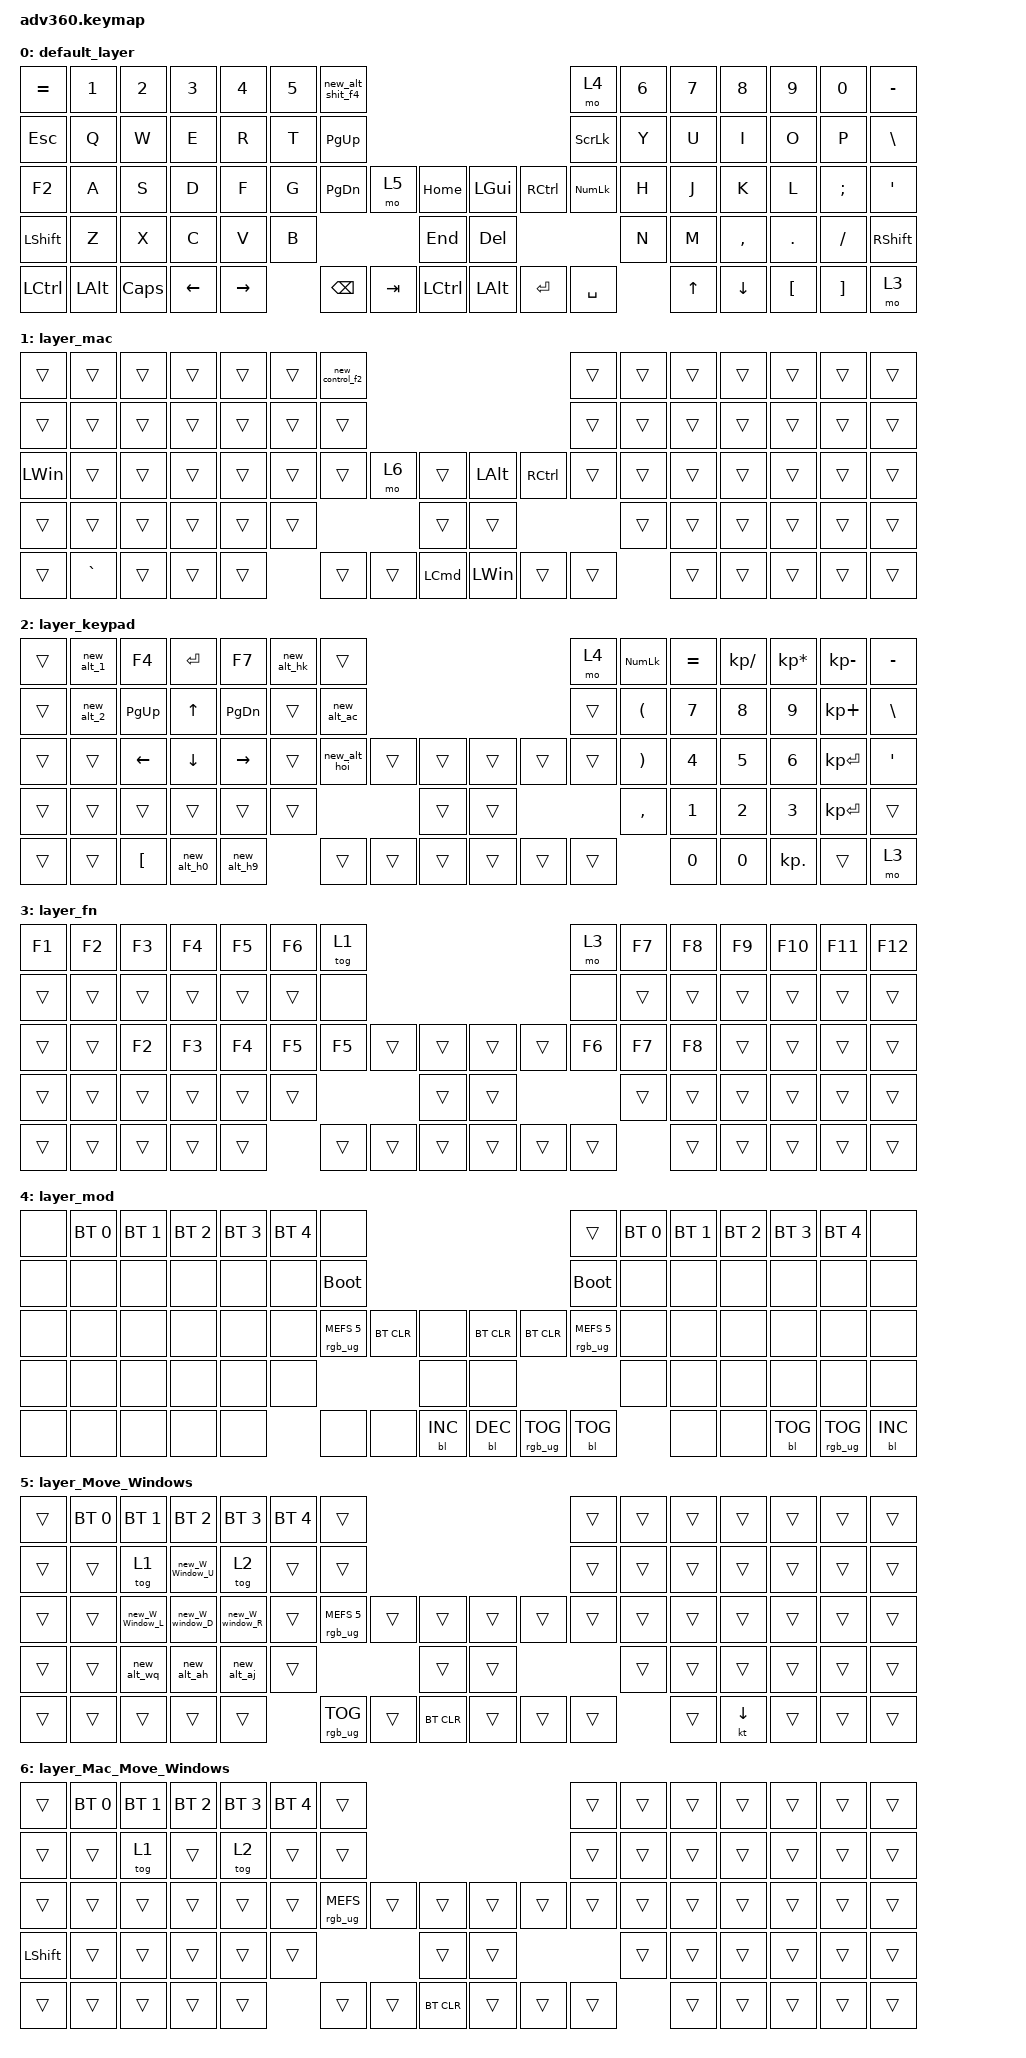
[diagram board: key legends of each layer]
/*
 * Copyright (c) 2020 The ZMK Contributors
 *
 * SPDX-License-Identifier: MIT
 */
/* THIS FILE WAS GENERATED!
 *
 * This file was generated automatically. You may or may not want to
 * edit it directly.
 */

#include <behaviors.dtsi>
#include <dt-bindings/zmk/backlight.h>
#include <dt-bindings/zmk/bt.h>
#include <dt-bindings/zmk/keys.h>
#include <dt-bindings/zmk/keys.h>
#include <dt-bindings/zmk/rgb.h>

/ {
    behaviors {
        #include "macros.dtsi"
    #include "version.dtsi"

        hm: homerow_mods {
            compatible = "zmk,behavior-hold-tap";
            label = "HOMEROW_MODS";
            #binding-cells = <2>;
            tapping-term-ms = <200>;
            quick_tap_ms = <175>;
            flavor = "tap-preferred";
            bindings = <&kp>, <&kp>;
        };
    };

    macros {
        new_alt_shit_f4: new_alt_shit_f4 {
            compatible = "zmk,behavior-macro";
            #binding-cells = <0>;
            bindings = <&kp LA(LC(F4))>;
            label = "NEW_ALT_SHIT_F4";
        };

        new_alt_ac: new_alt_ac {
            compatible = "zmk,behavior-macro";
            #binding-cells = <0>;
            bindings = <&kp LEFT_ALT &kp A &kp C>;
            label = "NEW_ALT_AC";
        };

        new_alt_hoi: new_alt_hoi {
            compatible = "zmk,behavior-macro";
            #binding-cells = <0>;
            bindings = <&kp LEFT_ALT &kp H &kp O &kp I>;
            label = "NEW_ALT_HOI";
        };

        new_alt_h9: new_alt_h9 {
            compatible = "zmk,behavior-macro";
            #binding-cells = <0>;
            bindings = <&kp LEFT_ALT &kp H &kp N9>;
            label = "NEW_ALT_H9";
        };

        new_alt_h0: new_alt_h0 {
            compatible = "zmk,behavior-macro";
            #binding-cells = <0>;
            bindings = <&kp LEFT_ALT &kp H &kp N0>;
            label = "NEW_ALT_H0";
        };

        new_alt_hk: new_alt_hk {
            compatible = "zmk,behavior-macro";
            #binding-cells = <0>;
            bindings = <&kp LEFT_ALT &kp H &kp K>;
            label = "NEW_ALT_HK";
        };

        new_alt_1: new_alt_1 {
            compatible = "zmk,behavior-macro";
            #binding-cells = <0>;
            bindings = <&kp LEFT_ALT &kp NUMBER_1>;
            label = "NEW_ALT_1";
        };

        new_alt_2: new_alt_2 {
            compatible = "zmk,behavior-macro";
            #binding-cells = <0>;
            bindings = <&kp LEFT_ALT &kp NUMBER_2>;
            label = "NEW_ALT_2";
        };

        new_alt_aj: new_alt_aj {
            compatible = "zmk,behavior-macro";
            #binding-cells = <0>;
            bindings = <&kp LEFT_ALT &kp A &kp J>;
            label = "NEW_ALT_AJ";
        };

        new_alt_ah: new_alt_ah {
            compatible = "zmk,behavior-macro";
            #binding-cells = <0>;
            bindings = <&kp LEFT_ALT &kp A &kp H>;
            label = "NEW_ALT_AH";
        };

        new_alt_wq: new_alt_wq {
            compatible = "zmk,behavior-macro";
            #binding-cells = <0>;
            bindings = <&kp LEFT_ALT &kp Q &kp W>;
            label = "NEW_ALT_WQ";
        };

        new_W_Window_L: new_W_Window_L {
            compatible = "zmk,behavior-macro";
            #binding-cells = <0>;
            bindings = <&kp LG(LEFT)>;
            label = "NEW_W_WINDOW_L";
        };

        new_W_window_R: new_W_window_R {
            compatible = "zmk,behavior-macro";
            #binding-cells = <0>;
            bindings = <&kp LG(RIGHT)>;
            label = "NEW_W_WINDOW_R";
        };

        new_W_window_D: new_W_window_D {
            compatible = "zmk,behavior-macro";
            #binding-cells = <0>;
            bindings = <&kp LG(DOWN)>;
            label = "NEW_W_WINDOW_D";
        };

        new_W_Window_U: new_W_Window_U {
            compatible = "zmk,behavior-macro";
            #binding-cells = <0>;
            bindings = <&kp LG(UP_ARROW)>;
            label = "NEW_W_WINDOW_U";
        };

        new_control_f2: new_control_f2 {
            compatible = "zmk,behavior-macro";
            #binding-cells = <0>;
            bindings = <&kp LC(F2)>;
            label = "NEW_CONTROL_F2";
        };
    };

    keymap {
        compatible = "zmk,keymap";

        default_layer {
            bindings = <
&kp EQUAL  &kp N1        &kp N2    &kp N3    &kp N4     &kp N5  &new_alt_shit_f4                                                   &mo 4           &kp N6  &kp N7  &kp N8     &kp N9    &kp N0    &kp MINUS
&kp ESC    &kp Q         &kp W     &kp E     &kp R      &kp T   &kp PG_UP                                                          &kp SCROLLLOCK  &kp Y   &kp U   &kp I      &kp O     &kp P     &kp BSLH
&kp F2     &kp A         &kp S     &kp D     &kp F      &kp G   &kp PG_DN         &mo 5    &kp HOME       &kp LGUI      &kp RCTRL  &kp KP_NUMLOCK  &kp H   &kp J   &kp K      &kp L     &kp SEMI  &kp SQT
&kp LSHFT  &kp Z         &kp X     &kp C     &kp V      &kp B                              &kp END        &kp DEL                                  &kp N   &kp M   &kp COMMA  &kp DOT   &kp FSLH  &kp RIGHT_SHIFT
&kp LCTRL  &kp LEFT_ALT  &kp CAPS  &kp LEFT  &kp RIGHT          &kp BSPC          &kp TAB  &kp LCTRL      &kp LEFT_ALT  &kp ENTER  &kp SPACE               &kp UP  &kp DOWN   &kp LBKT  &kp RBKT  &mo 3
            >;
        };

        layer_mac {
            bindings = <
&trans        &trans     &trans  &trans  &trans  &trans  &new_control_f2                                                         &trans  &trans  &trans  &trans  &trans  &trans  &trans
&trans        &trans     &trans  &trans  &trans  &trans  &trans                                                                  &trans  &trans  &trans  &trans  &trans  &trans  &trans
&kp LEFT_WIN  &trans     &trans  &trans  &trans  &trans  &trans           &mo 6   &trans                &kp LEFT_ALT  &kp RCTRL  &trans  &trans  &trans  &trans  &trans  &trans  &trans
&trans        &trans     &trans  &trans  &trans  &trans                           &trans                &trans                           &trans  &trans  &trans  &trans  &trans  &trans
&trans        &kp GRAVE  &trans  &trans  &trans          &trans           &trans  &kp LEFT_COMMAND      &kp LEFT_WIN  &trans     &trans          &trans  &trans  &trans  &trans  &trans
            >;
        };

        layer_keypad {
            bindings = <
&trans  &new_alt_1  &kp F4            &kp ENTER       &kp F7           &new_alt_hk  &trans                                            &mo 4   &kp KP_NUMLOCK         &kp EQUAL     &kp KP_SLASH  &kp KP_MULTIPLY  &kp KP_SUBTRACT  &kp MINUS
&trans  &new_alt_2  &kp PAGE_UP       &kp UP_ARROW    &kp PAGE_DOWN    &trans       &new_alt_ac                                       &trans  &kp LEFT_PARENTHESIS   &kp N7        &kp N8        &kp N9           &kp KP_PLUS      &kp BSLH
&trans  &trans      &kp LEFT_ARROW    &kp DOWN_ARROW  &kp RIGHT_ARROW  &trans       &new_alt_hoi  &trans  &trans      &trans  &trans  &trans  &kp RIGHT_PARENTHESIS  &kp NUMBER_4  &kp N5        &kp NUMBER_6     &kp KP_ENTER     &kp SQT
&trans  &trans      &trans            &trans          &trans           &trans                             &trans      &trans                  &kp COMMA              &kp N1        &kp N2        &kp N3           &kp KP_ENTER     &trans
&trans  &trans      &kp LEFT_BRACKET  &new_alt_h0     &new_alt_h9                   &trans        &trans  &trans      &trans  &trans  &trans                         &kp NUMBER_0  &kp NUMBER_0  &kp KP_DOT       &trans           &mo 3
            >;
        };

        layer_fn {
            bindings = <
&kp F1  &kp F2  &kp F3  &kp F4  &kp F5  &kp F6  &tog 1                                      &mo 3   &kp F7  &kp F8  &kp F9  &kp F10  &kp F11  &kp F12
&trans  &trans  &trans  &trans  &trans  &trans  &none                                       &none   &trans  &trans  &trans  &trans   &trans   &trans
&trans  &trans  &kp F2  &kp F3  &kp F4  &kp F5  &kp F5  &trans  &trans      &trans  &trans  &kp F6  &kp F7  &kp F8  &trans  &trans   &trans   &trans
&trans  &trans  &trans  &trans  &trans  &trans                  &trans      &trans                  &trans  &trans  &trans  &trans   &trans   &trans
&trans  &trans  &trans  &trans  &trans          &trans  &trans  &trans      &trans  &trans  &trans          &trans  &trans  &trans   &trans   &trans
            >;
        };

        layer_mod {
            bindings = <
&none  &bt BT_SEL 0  &bt BT_SEL 1  &bt BT_SEL 2  &bt BT_SEL 3  &bt BT_SEL 4  &none                                                                            &trans                  &bt BT_SEL 0  &bt BT_SEL 1  &bt BT_SEL 2  &bt BT_SEL 3  &bt BT_SEL 4     &none
&none  &none         &none         &none         &none         &none         &bootloader                                                                      &bootloader             &none         &none         &none         &none         &none            &none
&none  &none         &none         &none         &none         &none         &rgb_ug RGB_MEFS_CMD 5  &bt BT_CLR  &none           &bt BT_CLR  &bt BT_CLR       &rgb_ug RGB_MEFS_CMD 5  &none         &none         &none         &none         &none            &none
&none  &none         &none         &none         &none         &none                                             &none           &none                                                &none         &none         &none         &none         &none            &none
&none  &none         &none         &none         &none                       &none                   &none       &bl BL_INC      &bl BL_DEC  &rgb_ug RGB_TOG  &bl BL_TOG                            &none         &none         &bl BL_TOG    &rgb_ug RGB_TOG  &bl BL_INC
            >;
        };

        layer_Move_Windows {
            bindings = <
&trans  &bt BT_SEL 0  &bt BT_SEL 1     &bt BT_SEL 2     &bt BT_SEL 3     &bt BT_SEL 4  &trans                                                          &trans  &trans  &trans  &trans          &trans  &trans  &trans
&trans  &trans        &tog 1           &new_W_Window_U  &tog 2           &trans        &trans                                                          &trans  &trans  &trans  &trans          &trans  &trans  &trans
&trans  &trans        &new_W_Window_L  &new_W_window_D  &new_W_window_R  &trans        &rgb_ug RGB_MEFS_CMD 5  &trans  &trans          &trans  &trans  &trans  &trans  &trans  &trans          &trans  &trans  &trans
&trans  &trans        &new_alt_wq      &new_alt_ah      &new_alt_aj      &trans                                        &trans          &trans                  &trans  &trans  &trans          &trans  &trans  &trans
&trans  &trans        &trans           &trans           &trans                         &rgb_ug RGB_TOG         &trans  &bt BT_CLR      &trans  &trans  &trans          &trans  &kt DOWN_ARROW  &trans  &trans  &trans
            >;
        };

        layer_Mac_Move_Windows {
            bindings = <
&trans          &bt BT_SEL 0  &bt BT_SEL 1  &bt BT_SEL 2  &bt BT_SEL 3  &bt BT_SEL 4  &trans                                                        &trans  &trans  &trans  &trans  &trans  &trans  &trans
&trans          &trans        &tog 1        &trans        &tog 2        &trans        &trans                                                        &trans  &trans  &trans  &trans  &trans  &trans  &trans
&trans          &trans        &trans        &trans        &trans        &trans        &rgb_ug RGB_MEFS_CMD  &trans  &trans          &trans  &trans  &trans  &trans  &trans  &trans  &trans  &trans  &trans
&kp LEFT_SHIFT  &trans        &trans        &trans        &trans        &trans                                      &trans          &trans                  &trans  &trans  &trans  &trans  &trans  &trans
&trans          &trans        &trans        &trans        &trans                      &trans                &trans  &bt BT_CLR      &trans  &trans  &trans          &trans  &trans  &trans  &trans  &trans
            >;
        };
    };
};
